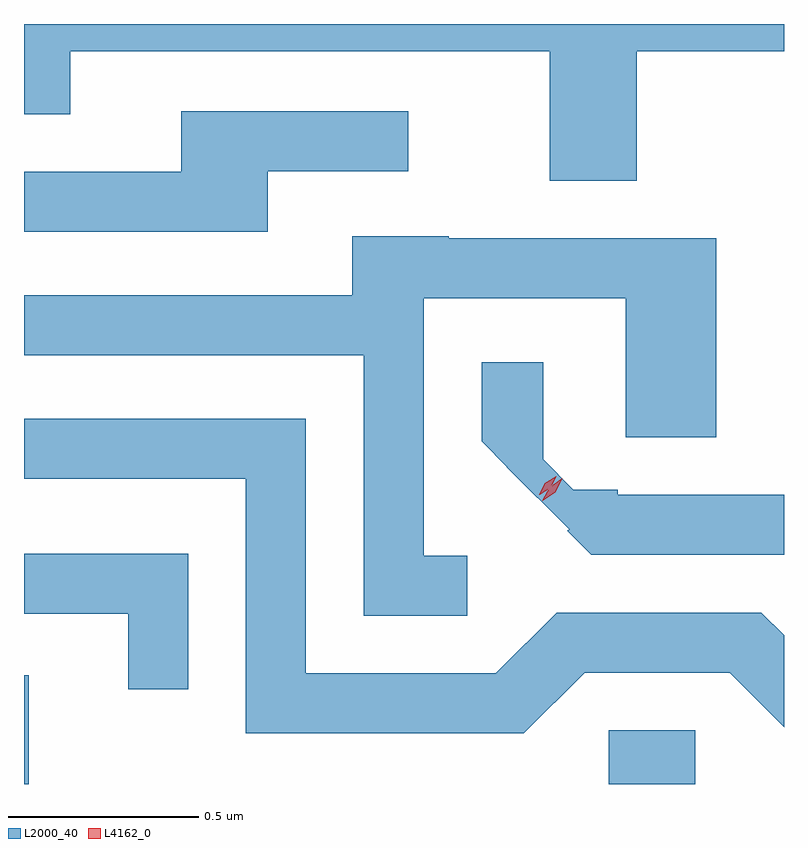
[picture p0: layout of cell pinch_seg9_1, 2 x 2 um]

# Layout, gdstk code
import gdstk
lib = gdstk.Library(unit=1e-6, precision=1e-09)
def R(c, l, rs):  # rectangles x0, y0, x1, y1
    for r in rs: c.add(gdstk.rectangle(r[:2], r[2:], *l))
def P(c, l, *ps):  # polygons
    for p in ps: c.add(gdstk.Polygon(p, *l))
L2000_40 = (2000, 40)
L4162_0 = (4162, 0)

pinch_seg9_1 = lib.new_cell('pinch_seg9_1')
R(pinch_seg9_1, L2000_40, [(1908.887,2003.208,1908.899,2003.494), (1910.426,2003.208,1910.654,2003.349)])
P(pinch_seg9_1, L2000_40, [(1910.499,2005.136),(1910.887,2005.136),(1910.887,2005.208),(1908.887,2005.208),(1908.887,2004.971),(1909.009,2004.971),(1909.009,2005.136),(1910.271,2005.136),(1910.271,2004.796),(1910.499,2004.796)],
  [(1909.529,2004.821),(1909.898,2004.821),(1909.898,2004.979),(1909.301,2004.979),(1909.301,2004.819),(1908.887,2004.819),(1908.887,2004.661),(1909.529,2004.661)],
  [(1910.053,2003.809),(1909.939,2003.809),(1909.939,2004.486),(1910.471,2004.486),(1910.471,2004.121),(1910.709,2004.121),(1910.709,2004.644),(1910.005,2004.644),(1910.005,2004.649),(1909.751,2004.649),(1909.751,2004.494),(1908.887,2004.494),(1908.887,2004.336),(1909.781,2004.336),(1909.781,2003.651),(1910.053,2003.651)],
  [(1910.887,2003.969),(1910.45,2003.969),(1910.45,2003.983),(1910.333,2003.983),(1910.254,2004.062),(1910.254,2004.318),(1910.091,2004.318),(1910.091,2004.11),(1910.159,2004.042),(1910.158,2004.042),(1910.322,2003.878),(1910.317,2003.874),(1910.38,2003.811),(1910.887,2003.811)],
  [(1910.362,2003.501),(1910.744,2003.501),(1910.887,2003.358),(1910.887,2003.599),(1910.827,2003.659),(1910.289,2003.659),(1910.129,2003.499),(1909.629,2003.499),(1909.629,2004.169),(1908.887,2004.169),(1908.887,2004.011),(1909.471,2004.011),(1909.471,2003.341),(1910.202,2003.341)],
  [(1909.319,2003.814),(1908.887,2003.814),(1908.887,2003.656),(1909.161,2003.656),(1909.161,2003.458),(1909.319,2003.458)])
P(pinch_seg9_1, L4162_0, [(1910.251,2003.953),(1910.251,2003.953),(1910.27,2003.989),(1910.303,2004.012),(1910.304,2004.012),(1910.304,2004.011),(1910.285,2003.976),(1910.252,2003.953)],
  [(1910.243,2003.969),(1910.243,2003.97),(1910.258,2004),(1910.287,2004.018),(1910.288,2004.018),(1910.288,2004.017),(1910.273,2003.987),(1910.244,2003.969)])

lib.write_gds('pinch_seg9_1.gds')
